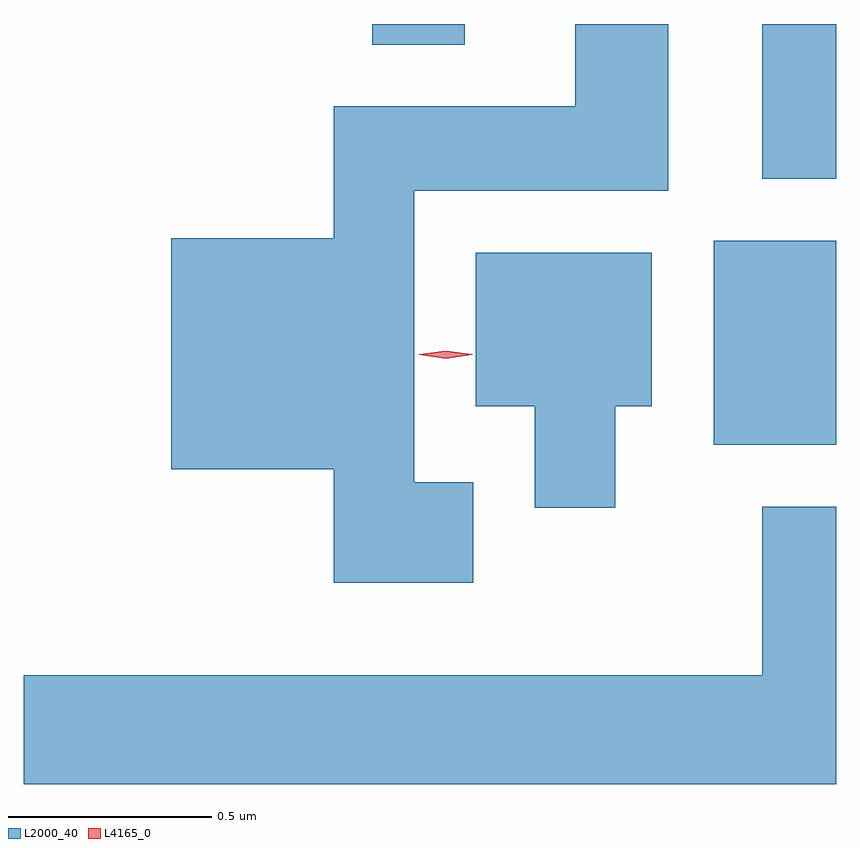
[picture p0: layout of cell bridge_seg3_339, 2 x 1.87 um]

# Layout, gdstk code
import gdstk
lib = gdstk.Library(unit=1e-6, precision=1e-09)
def R(c, l, rs):  # rectangles x0, y0, x1, y1
    for r in rs: c.add(gdstk.rectangle(r[:2], r[2:], *l))
def P(c, l, *ps):  # polygons
    for p in ps: c.add(gdstk.Polygon(p, *l))
L2000_40 = (2000, 40)
L4165_0 = (4165, 0)

bridge_seg3_339 = lib.new_cell('bridge_seg3_339')
R(bridge_seg3_339, L2000_40, [(573.281,1202.331,573.583,1202.834), (573.401,1202.986,573.583,1203.367), (572.441,1203.316,572.669,1203.367)])
P(bridge_seg3_339, L2000_40, [(572.689,1202.239),(572.544,1202.239),(572.544,1202.956),(573.169,1202.956),(573.169,1203.367),(572.941,1203.367),(572.941,1203.164),(572.346,1203.164),(572.346,1202.839),(571.946,1202.839),(571.946,1202.271),(572.346,1202.271),(572.346,1201.991),(572.689,1201.991)],
  [(573.039,1202.426),(573.129,1202.426),(573.129,1202.804),(572.696,1202.804),(572.696,1202.426),(572.841,1202.426),(572.841,1202.176),(573.039,1202.176)],
  [(573.583,1202.179),(573.401,1202.179),(573.401,1201.764),(571.583,1201.764),(571.583,1201.496),(573.583,1201.496)])
P(bridge_seg3_339, L4165_0, [(572.622,1202.543),(572.556,1202.553),(572.556,1202.553),(572.556,1202.554),(572.622,1202.563),(572.687,1202.554),(572.688,1202.553),(572.687,1202.553)])

lib.write_gds('bridge_seg3_339.gds')
